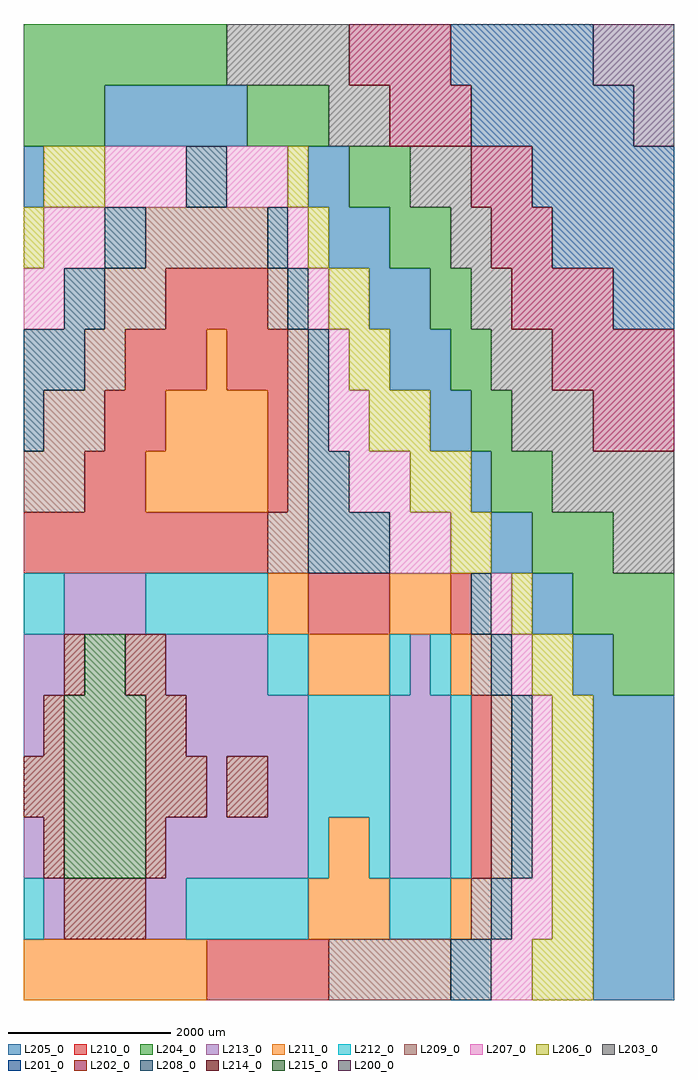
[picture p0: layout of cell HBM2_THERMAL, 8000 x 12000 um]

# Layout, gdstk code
import gdstk
lib = gdstk.Library(unit=1e-6, precision=1e-09)
def R(c, l, rs):  # rectangles x0, y0, x1, y1
    for r in rs: c.add(gdstk.rectangle(r[:2], r[2:], *l))
def A(c, l, x, y, w, h, nx, ny, dx, dy):  # array of equal rectangles
    R(c, l, [(x+i*dx, y+j*dy, x+i*dx+w, y+j*dy+h) for i in range(nx) for j in range(ny)])
L200_0 = (200, 0)
L201_0 = (201, 0)
L202_0 = (202, 0)
L203_0 = (203, 0)
L204_0 = (204, 0)
L205_0 = (205, 0)
L206_0 = (206, 0)
L207_0 = (207, 0)
L208_0 = (208, 0)
L209_0 = (209, 0)
L210_0 = (210, 0)
L211_0 = (211, 0)
L212_0 = (212, 0)
L213_0 = (213, 0)
L214_0 = (214, 0)
L215_0 = (215, 0)

hbm2_thermal = lib.new_cell('HBM2_THERMAL')
A(hbm2_thermal, L200_0, 7000, 11250, 250, 750, 4, 1, 250, 0)
R(hbm2_thermal, L200_0, [(7500,10500,7750,11250), (7750,10500,8000,11250)])
A(hbm2_thermal, L201_0, 7250, 8250, 250, 750, 3, 1, 250, 0)
A(hbm2_thermal, L201_0, 6500, 9000, 250, 750, 6, 1, 250, 0)
A(hbm2_thermal, L201_0, 6250, 9750, 250, 750, 7, 1, 250, 0)
A(hbm2_thermal, L201_0, 5500, 10500, 250, 750, 8, 1, 250, 0)
A(hbm2_thermal, L201_0, 5250, 11250, 250, 750, 7, 1, 250, 0)
A(hbm2_thermal, L202_0, 7000, 6750, 250, 750, 4, 1, 250, 0)
A(hbm2_thermal, L202_0, 6500, 7500, 250, 750, 6, 1, 250, 0)
A(hbm2_thermal, L202_0, 6000, 8250, 250, 750, 5, 1, 250, 0)
A(hbm2_thermal, L202_0, 5750, 9000, 250, 750, 3, 1, 250, 0)
A(hbm2_thermal, L202_0, 5500, 9750, 250, 750, 3, 1, 250, 0)
A(hbm2_thermal, L202_0, 4500, 10500, 250, 750, 4, 1, 250, 0)
A(hbm2_thermal, L202_0, 4000, 11250, 250, 750, 5, 1, 250, 0)
A(hbm2_thermal, L203_0, 7250, 5250, 250, 750, 3, 1, 250, 0)
A(hbm2_thermal, L203_0, 6500, 6000, 250, 750, 6, 1, 250, 0)
A(hbm2_thermal, L203_0, 6000, 6750, 250, 750, 4, 1, 250, 0)
A(hbm2_thermal, L203_0, 5750, 7500, 250, 750, 3, 1, 250, 0)
A(hbm2_thermal, L203_0, 4750, 9750, 250, 750, 3, 1, 250, 0)
A(hbm2_thermal, L203_0, 3750, 10500, 250, 750, 3, 1, 250, 0)
A(hbm2_thermal, L203_0, 2500, 11250, 250, 750, 6, 1, 250, 0)
R(hbm2_thermal, L203_0, [(5500,8250,5750,9000), (5750,8250,6000,9000), (5250,9000,5500,9750), (5500,9000,5750,9750)])
A(hbm2_thermal, L204_0, 7250, 3750, 250, 750, 3, 1, 250, 0)
A(hbm2_thermal, L204_0, 6750, 4500, 250, 750, 5, 1, 250, 0)
A(hbm2_thermal, L204_0, 6250, 5250, 250, 750, 4, 1, 250, 0)
A(hbm2_thermal, L204_0, 5750, 6000, 250, 750, 3, 1, 250, 0)
A(hbm2_thermal, L204_0, 4500, 9000, 250, 750, 3, 1, 250, 0)
A(hbm2_thermal, L204_0, 4000, 9750, 250, 750, 3, 1, 250, 0)
A(hbm2_thermal, L204_0, 0, 10500, 250, 750, 4, 1, 250, 0)
A(hbm2_thermal, L204_0, 2750, 10500, 250, 750, 4, 1, 250, 0)
A(hbm2_thermal, L204_0, 0, 11250, 250, 750, 10, 1, 250, 0)
R(hbm2_thermal, L204_0, [(5500,6750,5750,7500), (5750,6750,6000,7500), (5250,7500,5500,8250), (5500,7500,5750,8250), (5000,8250,5250,9000), (5250,8250,5500,9000)])
A(hbm2_thermal, L205_0, 7000, 0, 250, 750, 4, 5, 250, 750)
A(hbm2_thermal, L205_0, 4500, 7500, 250, 750, 3, 1, 250, 0)
A(hbm2_thermal, L205_0, 4250, 8250, 250, 750, 3, 1, 250, 0)
A(hbm2_thermal, L205_0, 3750, 9000, 250, 750, 3, 1, 250, 0)
A(hbm2_thermal, L205_0, 1000, 10500, 250, 750, 7, 1, 250, 0)
R(hbm2_thermal, L205_0, [(6750,3750,7000,4500), (7000,3750,7250,4500), (6250,4500,6500,5250), (6500,4500,6750,5250), (5750,5250,6000,6000), (6000,5250,6250,6000), (5500,6000,5750,6750), (5000,6750,5250,7500), (5250,6750,5500,7500), (0,9750,250,10500), (3500,9750,3750,10500), (3750,9750,4000,10500)])
A(hbm2_thermal, L206_0, 6250, 0, 250, 750, 3, 1, 250, 0)
A(hbm2_thermal, L206_0, 6500, 750, 250, 750, 1, 5, 0, 750)
A(hbm2_thermal, L206_0, 6750, 750, 250, 750, 1, 4, 0, 750)
A(hbm2_thermal, L206_0, 4750, 6000, 250, 750, 3, 1, 250, 0)
A(hbm2_thermal, L206_0, 4250, 6750, 250, 750, 3, 1, 250, 0)
A(hbm2_thermal, L206_0, 250, 9750, 250, 750, 3, 1, 250, 0)
R(hbm2_thermal, L206_0, [(6250,3750,6500,4500), (6000,4500,6250,5250), (5250,5250,5500,6000), (5500,5250,5750,6000), (4000,7500,4250,8250), (4250,7500,4500,8250), (3750,8250,4000,9000), (4000,8250,4250,9000), (0,9000,250,9750), (3500,9000,3750,9750), (3250,9750,3500,10500)])
A(hbm2_thermal, L207_0, 6250, 750, 250, 750, 1, 4, 0, 750)
A(hbm2_thermal, L207_0, 4500, 5250, 250, 750, 3, 1, 250, 0)
A(hbm2_thermal, L207_0, 4000, 6000, 250, 750, 3, 1, 250, 0)
A(hbm2_thermal, L207_0, 250, 9000, 250, 750, 3, 1, 250, 0)
A(hbm2_thermal, L207_0, 1000, 9750, 250, 750, 4, 1, 250, 0)
A(hbm2_thermal, L207_0, 2500, 9750, 250, 750, 3, 1, 250, 0)
R(hbm2_thermal, L207_0, [(5750,0,6000,750), (6000,0,6250,750), (6000,750,6250,1500), (6000,3750,6250,4500), (5750,4500,6000,5250), (3750,6750,4000,7500), (4000,6750,4250,7500), (3750,7500,4000,8250), (0,8250,250,9000), (250,8250,500,9000), (3500,8250,3750,9000), (3250,9000,3500,9750)])
A(hbm2_thermal, L208_0, 6000, 1500, 250, 750, 1, 3, 0, 750)
A(hbm2_thermal, L208_0, 3500, 5250, 250, 750, 4, 1, 250, 0)
A(hbm2_thermal, L208_0, 3500, 6000, 250, 750, 1, 3, 0, 750)
A(hbm2_thermal, L208_0, 0, 7500, 250, 750, 3, 1, 250, 0)
R(hbm2_thermal, L208_0, [(5250,0,5500,750), (5500,0,5750,750), (5750,750,6000,1500), (5750,3750,6000,4500), (5500,4500,5750,5250), (3750,6000,4000,6750), (0,6750,250,7500), (500,8250,750,9000), (750,8250,1000,9000), (3250,8250,3500,9000), (1000,9000,1250,9750), (1250,9000,1500,9750), (3000,9000,3250,9750), (2000,9750,2250,10500), (2250,9750,2500,10500)])
A(hbm2_thermal, L209_0, 3750, 0, 250, 750, 6, 1, 250, 0)
A(hbm2_thermal, L209_0, 5750, 1500, 250, 750, 1, 3, 0, 750)
A(hbm2_thermal, L209_0, 3250, 5250, 250, 750, 1, 4, 0, 750)
A(hbm2_thermal, L209_0, 0, 6000, 250, 750, 3, 1, 250, 0)
A(hbm2_thermal, L209_0, 250, 6750, 250, 750, 3, 1, 250, 0)
A(hbm2_thermal, L209_0, 1000, 8250, 250, 750, 3, 1, 250, 0)
A(hbm2_thermal, L209_0, 1500, 9000, 250, 750, 6, 1, 250, 0)
R(hbm2_thermal, L209_0, [(5500,750,5750,1500), (5500,3750,5750,4500), (3000,5250,3250,6000), (750,7500,1000,8250), (1000,7500,1250,8250), (3000,8250,3250,9000)])
A(hbm2_thermal, L210_0, 2250, 0, 250, 750, 6, 1, 250, 0)
A(hbm2_thermal, L210_0, 5500, 1500, 250, 750, 1, 3, 0, 750)
A(hbm2_thermal, L210_0, 3500, 4500, 250, 750, 4, 1, 250, 0)
A(hbm2_thermal, L210_0, 0, 5250, 250, 750, 12, 1, 250, 0)
A(hbm2_thermal, L210_0, 750, 6000, 250, 750, 3, 1, 250, 0)
A(hbm2_thermal, L210_0, 1000, 6750, 250, 750, 3, 1, 250, 0)
A(hbm2_thermal, L210_0, 1250, 7500, 250, 750, 4, 1, 250, 0)
A(hbm2_thermal, L210_0, 2500, 7500, 250, 750, 3, 1, 250, 0)
A(hbm2_thermal, L210_0, 1750, 8250, 250, 750, 5, 1, 250, 0)
R(hbm2_thermal, L210_0, [(5250,4500,5500,5250), (3000,6000,3250,6750), (3000,6750,3250,7500)])
A(hbm2_thermal, L211_0, 0, 0, 250, 750, 9, 1, 250, 0)
A(hbm2_thermal, L211_0, 3500, 750, 250, 750, 4, 2, 250, 3000)
A(hbm2_thermal, L211_0, 4500, 4500, 250, 750, 3, 1, 250, 0)
A(hbm2_thermal, L211_0, 1500, 6000, 250, 750, 6, 1, 250, 0)
A(hbm2_thermal, L211_0, 1750, 6750, 250, 750, 5, 1, 250, 0)
R(hbm2_thermal, L211_0, [(5250,750,5500,1500), (3750,1500,4000,2250), (4000,1500,4250,2250), (5250,3750,5500,4500), (3000,4500,3250,5250), (3250,4500,3500,5250), (2250,7500,2500,8250)])
A(hbm2_thermal, L212_0, 2000, 750, 250, 750, 6, 1, 250, 0)
A(hbm2_thermal, L212_0, 4500, 750, 250, 750, 3, 1, 250, 0)
A(hbm2_thermal, L212_0, 5250, 1500, 250, 750, 1, 3, 0, 750)
A(hbm2_thermal, L212_0, 3500, 2250, 250, 750, 4, 2, 250, 750)
A(hbm2_thermal, L212_0, 1500, 4500, 250, 750, 6, 1, 250, 0)
R(hbm2_thermal, L212_0, [(0,750,250,1500), (3500,1500,3750,2250), (4250,1500,4500,2250), (3000,3750,3250,4500), (3250,3750,3500,4500), (4500,3750,4750,4500), (5000,3750,5250,4500), (0,4500,250,5250), (250,4500,500,5250)])
A(hbm2_thermal, L213_0, 1750, 1500, 250, 750, 7, 1, 250, 0)
A(hbm2_thermal, L213_0, 4500, 1500, 250, 750, 3, 3, 250, 750)
A(hbm2_thermal, L213_0, 2000, 3000, 250, 750, 6, 1, 250, 0)
A(hbm2_thermal, L213_0, 1750, 3750, 250, 750, 5, 1, 250, 0)
A(hbm2_thermal, L213_0, 500, 4500, 250, 750, 4, 1, 250, 0)
R(hbm2_thermal, L213_0, [(250,750,500,1500), (1500,750,1750,1500), (1750,750,2000,1500), (0,1500,250,2250), (2250,2250,2500,3000), (3000,2250,3250,3000), (3250,2250,3500,3000), (0,3000,250,3750), (0,3750,250,4500), (250,3750,500,4500), (4750,3750,5000,4500)])
A(hbm2_thermal, L214_0, 500, 750, 250, 750, 4, 1, 250, 0)
A(hbm2_thermal, L214_0, 250, 1500, 250, 750, 1, 3, 0, 750)
A(hbm2_thermal, L214_0, 1500, 2250, 250, 750, 3, 1, 250, 0)
R(hbm2_thermal, L214_0, [(1500,1500,1750,2250), (0,2250,250,3000), (2500,2250,2750,3000), (2750,2250,3000,3000), (1500,3000,1750,3750), (1750,3000,2000,3750), (500,3750,750,4500), (1250,3750,1500,4500), (1500,3750,1750,4500)])
A(hbm2_thermal, L215_0, 500, 1500, 250, 750, 4, 3, 250, 750)
R(hbm2_thermal, L215_0, [(750,3750,1000,4500), (1000,3750,1250,4500)])

lib.write_gds('HBM2_THERMAL.gds')
